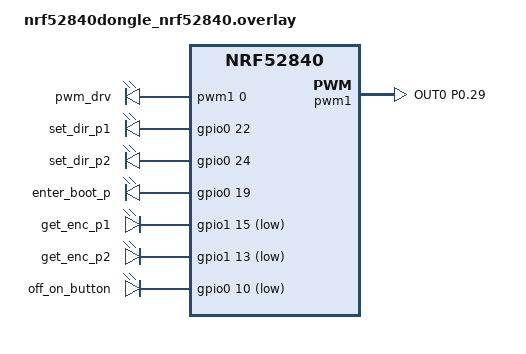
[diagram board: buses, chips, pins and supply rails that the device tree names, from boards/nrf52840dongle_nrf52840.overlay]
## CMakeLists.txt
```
# SPDX-License-Identifier: Apache-2.0

cmake_minimum_required(VERSION 3.20.0)
find_package(Zephyr REQUIRED HINTS $ENV{ZEPHYR_BASE})
project(MotorController)

set(CONTROLLER_PATH "MotorControllerFirmware/BrushedMotorControllerFirmware")

target_include_directories(app PRIVATE
     "${CONTROLLER_PATH}/include"
     "${CONTROLLER_PATH}/include/*"
     "src"
)

file(GLOB SRC_files_MC
     "${CONTROLLER_PATH}/include/*.c"
     "${CONTROLLER_PATH}/include/**/*.c"
)

file(GLOB SRC_files
     "src/*.c"
)

target_sources(app PRIVATE ${SRC_files_MC} ${SRC_files})

if ( CMAKE_COMPILER_IS_GNUCC )
     if ( CMAKE_C_COMPILER_VERSION LESS 13 )
          target_compile_options(app PRIVATE -Wno-unknown-pragmas)
     endif ()
endif ()
```

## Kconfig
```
# SPDX-License-Identifier: Apache-2.0
#
# Copyright (c) 2023 Maciej Baczmanski, Michal Kawiak, Jakub Mazur
#

menu "Wedka configurtion"
rsource "./MotorControllerFirmware/BrushedMotorControllerFirmware/Kconfig"
endmenu
```

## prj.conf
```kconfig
# SPDX-License-Identifier: Apache-2.0
#
# Copyright (c) 2023 Maciej Baczmanski, Michal Kawiak, Jakub Mazur
#

CONFIG_ASSERT=y
CONFIG_SHELL=y

CONFIG_GPIO=y
CONFIG_PWM=y
CONFIG_PWM_SHELL=n

# For Printk()
CONFIG_PRINTK=y
CONFIG_CONSOLE=y

# NVS
CONFIG_FLASH=y
CONFIG_FLASH_PAGE_LAYOUT=y
CONFIG_NVS=y
CONFIG_MPU_ALLOW_FLASH_WRITE=y

# Communication protocols
CONFIG_UART_SHELL_SUPPORT=y
CONFIG_BT_SUPPORT=y

# Driver specific configuration
CONFIG_SUPPORTED_CHANNEL_NUMBER=1

CONFIG_BT_DEVICE_NAME="WyndkaTemplates"
```

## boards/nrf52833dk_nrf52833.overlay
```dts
/ {
	pwmdrv {
		compatible = "pwm-leds";
		pwm_drv: pwm_drv {
			pwms = <&pwm1 0 PWM_MSEC(20) 0>;
		};
	};

	gpio_pins {
		compatible = "gpio-leds";
		set_dir_p1: set_dir_p1 {
			gpios = <&gpio0 22 GPIO_ACTIVE_LOW>;
		};

		set_dir_p2: set_dir_p2 {
			gpios = <&gpio0 24 GPIO_ACTIVE_LOW>;
		};

		get_enc_p1: get_enc_p1 {
			gpios = <&gpio1 15 (GPIO_PULL_UP | GPIO_ACTIVE_LOW)>;
		};

		get_enc_p2: get_enc_p2 {
			gpios = <&gpio1 13 (GPIO_PULL_UP | GPIO_ACTIVE_LOW)>;
		};
	};

	aliases {
		pwm-drv = &pwm_drv;
		set-dir-p1 = &set_dir_p1;
		set-dir-p2 = &set_dir_p2;
		get-enc-p1 = &get_enc_p1;
		get-enc-p2 = &get_enc_p2;
	};

};

&pinctrl{
	pwm1_default: pwm1_default {
		group1 {
			psels = <NRF_PSEL(PWM_OUT0, 0, 13)>;
			nordic,invert;
		};
	};
	pwm1_sleep: pwm1_sleep {
		group1 {
			psels = <NRF_PSEL(PWM_OUT0, 0, 13)>;
			low-power-enable;
		};
	};
};

&pwm1 {
	status = "okay";
	pinctrl-0 = <&pwm1_default>;
	pinctrl-1 = <&pwm1_sleep>;
	pinctrl-names = "default", "sleep";

};
```

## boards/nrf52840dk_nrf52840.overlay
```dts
/ {
	pwmdrv {
		compatible = "pwm-leds";
		pwm_drv_ch1: pwm_drv_ch1 {
			pwms = <&pwm1 0 PWM_MSEC(20) 0>;
		};
	};

	gpio_pins {
		compatible = "gpio-leds";
		set_dir_p1_ch1: set_dir_p1_ch1 {
			gpios = <&gpio0 22 GPIO_ACTIVE_LOW>;
		};

		set_dir_p2_ch1: set_dir_p2_ch1 {
			gpios = <&gpio0 24 GPIO_ACTIVE_LOW>;
		};

		enter_boot_p: enter_boot_p {
			gpios = <&gpio0 19 GPIO_ACTIVE_HIGH>;
		};

		get_enc_p1_ch1: get_enc_p1_ch1 {
			gpios = <&gpio1 15 (GPIO_PULL_UP | GPIO_ACTIVE_LOW)>;
		};

		get_enc_p2_ch1: get_enc_p2_ch1 {
			gpios = <&gpio1 13 (GPIO_PULL_UP | GPIO_ACTIVE_LOW)>;
		};
	};

	aliases {
		pwm-drv-ch1 = &pwm_drv_ch1;
		set-dir-p1-ch1 = &set_dir_p1_ch1;
		set-dir-p2-ch1 = &set_dir_p2_ch1;
		enter-boot-p = &enter_boot_p;
		get-enc-p1-ch1 = &get_enc_p1_ch1;
		get-enc-p2-ch1 = &get_enc_p2_ch1;
	};

};

&pinctrl{
	pwm1_default: pwm1_default {
		group1 {
			psels = <NRF_PSEL(PWM_OUT0, 0, 13)>;
			nordic,invert;
		};
	};
	pwm1_sleep: pwm1_sleep {
		group1 {
			psels = <NRF_PSEL(PWM_OUT0, 0, 13)>;
			low-power-enable;
		};
	};
};

&pwm1 {
	status = "okay";
	pinctrl-0 = <&pwm1_default>;
	pinctrl-1 = <&pwm1_sleep>;
	pinctrl-names = "default", "sleep";

};
```

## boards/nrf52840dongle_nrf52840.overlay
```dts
&uart0 {
	status="disabled";
};


/ {
	pwmdrv {
		compatible = "pwm-leds";
		pwm_drv: pwm_drv {
			pwms = <&pwm1 0 PWM_MSEC(20) 0>;
		};
	};

	gpio_pins {
		compatible = "gpio-leds";
		set_dir_p1: set_dir_p1 {
			gpios = <&gpio0 22 GPIO_ACTIVE_HIGH>;
		};

		set_dir_p2: set_dir_p2 {
			gpios = <&gpio0 24 GPIO_ACTIVE_HIGH>;
		};

		enter_boot_p: enter_boot_p {
			gpios = <&gpio0 19 GPIO_ACTIVE_HIGH>;
		};

		get_enc_p1: get_enc_p1 {
			gpios = <&gpio1 15 (GPIO_PULL_UP | GPIO_ACTIVE_LOW)>;
		};

		get_enc_p2: get_enc_p2 {
			gpios = <&gpio1 13 (GPIO_PULL_UP | GPIO_ACTIVE_LOW)>;
		};

		off_on_button: off_on_button {
			gpios = <&gpio0 10 (GPIO_PULL_DOWN | GPIO_ACTIVE_LOW)>;
		};
	};

	aliases {
		pwm-drv = &pwm_drv;
		set-dir-p1 = &set_dir_p1;
		set-dir-p2 = &set_dir_p2;
		enter-boot-p = &enter_boot_p;
		get-enc-p1 = &get_enc_p1;
		get-enc-p2 = &get_enc_p2;
		off-on-button = &off_on_button;
	};

};

&pinctrl{
	pwm1_default: pwm1_default {
		group1 {
			psels = <NRF_PSEL(PWM_OUT0, 0, 29)>;
			nordic,invert;
		};
	};
	pwm1_sleep: pwm1_sleep {
		group1 {
			psels = <NRF_PSEL(PWM_OUT0, 0, 29)>;
			low-power-enable;
		};
	};
};

&pwm1 {
	status = "okay";
	pinctrl-0 = <&pwm1_default>;
	pinctrl-1 = <&pwm1_sleep>;
	pinctrl-names = "default", "sleep";

};
```

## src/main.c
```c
// SPDX-License-Identifier: Apache-2.0
// Copyright (c) 2024 Maciej Baczmanski, Jakub Mazur, Michał Kawiak

#include <zephyr/kernel.h>

#include <zephyr/usb/usb_device.h>

#if defined(CONFIG_BT_SUPPORT)
#include "ble_gatt_service.h"
#endif

#include <string.h>

#include "driver.h"
#include "storage.h"
#include "button.h"

#if defined(CONFIG_UART_SHELL_SUPPORT)
#include <zephyr/drivers/uart.h>
#endif

int main(void)
{
	struct Template initial_template;
	return_codes_t error = SUCCESS;

	init_pwm_motor_driver();
	init_storage();
	error = get_current_template(&initial_template);

	if (error == SUCCESS) {
		target_speed_set(initial_template.speed, CH0);
	}

#if defined(CONFIG_BT_SUPPORT)
	init_bt();
#endif

	off_on_button_init();
}
```

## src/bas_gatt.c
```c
/** @file
 *  @brief GATT Battery Service
 */

/*
 * Copyright (c) 2018 Nordic Semiconductor ASA
 * Copyright (c) 2016 Intel Corporation
 *
 * SPDX-License-Identifier: Apache-2.0
 */

#include <errno.h>
#include <zephyr/init.h>
#include <zephyr/sys/__assert.h>
#include <stdbool.h>
#include <zephyr/types.h>

#include <zephyr/bluetooth/bluetooth.h>
#include <zephyr/bluetooth/conn.h>
#include <zephyr/bluetooth/gatt.h>
#include <zephyr/bluetooth/uuid.h>
#include "bas_gatt.h"

#define LOG_LEVEL CONFIG_BT_BAS_LOG_LEVEL
#include <zephyr/logging/log.h>
LOG_MODULE_REGISTER(bas);

static uint8_t ble_gatt_buffer[20] = {0x20,0x20,0x20,0x20,0x20,0x20,0x20,0x20,0x20,0x20,
									0x20,0x20,0x20,0x20,0x20,0x20,0x21,0x21,0x21,0x21,
									};

static uint8_t ble_gatt_new_frame[20] = {0x4e, 0x45, 0x57, 0x20, 0x46, 0x52, 0x41, 0x4d, 0x45, 0x20
										,0x20, 0x20, 0x20, 0x20, 0x20, 0x20, 0x20, 0x20, 0x20, 0x20};

void ble_buffer_copy_estimates(uint32_t var1, uint32_t var2, uint32_t var3, uint32_t var4) {
    // Copy each uint32_t variable into the buffer
    memcpy(ble_gatt_buffer, &var1, sizeof(uint32_t));
    memcpy(ble_gatt_buffer + sizeof(uint32_t), &var2, sizeof(uint32_t));
    memcpy(ble_gatt_buffer + 2 * sizeof(uint32_t), &var3, sizeof(uint32_t));
    memcpy(ble_gatt_buffer + 3 * sizeof(uint32_t), &var4, sizeof(uint32_t));
}

void ble_buffer_copy_from_uint8_buffer(uint8_t* src_buffer, size_t src_length) {
    // Copy data from the uint8_t buffer into the ble_gatt_buffer
	//size_t copy_length = (src_length < sizeof(ble_gatt_buffer)) ? src_length : sizeof(ble_gatt_buffer);
    memcpy(ble_gatt_buffer, src_buffer, src_length);
}



static void blvl_ccc_cfg_changed(const struct bt_gatt_attr *attr,
				       uint16_t value)
{
	ARG_UNUSED(attr);

	bool notif_enabled = (value == BT_GATT_CCC_NOTIFY);

	LOG_INF("BAS Notifications %s", notif_enabled ? "enabled" : "disabled");
}

static ssize_t read_blvl(struct bt_conn *conn,
			       const struct bt_gatt_attr *attr, void *buf,
			       uint16_t len, uint16_t offset)
{
	uint8_t* lvl8 = ble_gatt_buffer;

	return bt_gatt_attr_read(conn, attr, buf, len, offset, &lvl8,
				 sizeof(lvl8));
}

BT_GATT_SERVICE_DEFINE(bas,
	BT_GATT_PRIMARY_SERVICE(BT_UUID_BAS),
	BT_GATT_CHARACTERISTIC(BT_UUID_BAS_BATTERY_LEVEL,
			       BT_GATT_CHRC_READ | BT_GATT_CHRC_NOTIFY,
			       BT_GATT_PERM_READ, read_blvl, NULL,
			       &ble_gatt_buffer),
	BT_GATT_CCC(blvl_ccc_cfg_changed,
		    BT_GATT_PERM_READ | BT_GATT_PERM_WRITE),
);

static int bas_init(const struct device *dev)
{
	ARG_UNUSED(dev);

	return 0;
}

uint8_t* get_ble_buffer()
{
	return &ble_gatt_buffer[0];
}

int bt_set_new_frame(){
	int rc;

	rc = bt_gatt_notify(NULL, &bas.attrs[1], ble_gatt_new_frame, 20);

	return rc == -ENOTCONN ? 0 : rc;
}

int bt_set_estimates(uint8_t data[] ,  size_t num_of_bytes)
{
	int rc;

	rc = bt_gatt_notify(NULL, &bas.attrs[1], data, num_of_bytes);

	return rc == -ENOTCONN ? 0 : rc;
}

SYS_INIT(bas_init, APPLICATION, CONFIG_APPLICATION_INIT_PRIORITY);
```

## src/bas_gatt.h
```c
/*
 * Copyright (c) 2018 Nordic Semiconductor ASA
 * Copyright (c) 2016 Intel Corporation
 *
 * SPDX-License-Identifier: Apache-2.0
 */

#ifndef ZEPHYR_INCLUDE_BLUETOOTH_SERVICES_BAS_H_
#define ZEPHYR_INCLUDE_BLUETOOTH_SERVICES_BAS_H_

/**
 * @brief Battery Service (BAS)
 * @defgroup bt_bas Battery Service (BAS)
 * @ingroup bluetooth
 * @{
 *
 * [Experimental] Users should note that the APIs can change
 * as a part of ongoing development.
 */

#include <zephyr/types.h>

#ifdef __cplusplus
extern "C" {
#endif

/** @brief Read battery level value.
 *
 * Read the characteristic value of the battery level
 *
 *  @return The battery level in percent.
 */
uint8_t* bt_bas_get_battery_level(void);

/** @brief Update battery level value.
 *
 * Update the characteristic value of the battery level
 * This will send a GATT notification to all current subscribers.
 *
 *  @param level The battery level in percent.
 *
 *  @return Zero in case of success and error code in case of error.
 */
int bt_bas_set_battery_level(uint8_t* level);

void ble_buffer_copy_from_uint8_buffer(uint8_t* src_buffer, size_t src_length);

int bt_set_estimates(uint8_t data[] ,  size_t num_of_bytes);

void ble_buffer_copy_estimates(uint32_t var1, uint32_t var2, uint32_t var3, uint32_t var4);

int bt_set_new_frame();

uint8_t* get_ble_buffer();

#ifdef __cplusplus
}
#endif

/**
 * @}
 */

#endif /* ZEPHYR_INCLUDE_BLUETOOTH_SERVICES_BAS_H_ */
```

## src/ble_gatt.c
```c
// SPDX-License-Identifier: Apache-2.0
// Copyright (c) 2023 Maciej Baczmanski, Michal Kawiak, Jakub Mazur
// Copyright (c) 2016 Intel Corporation
#if defined(CONFIG_BT_SUPPORT)
// TODO - move define wrappers to CMakeLists. If whole is not to be compiled, make rule in CMAKE

#include "driver.h"
#include "storage.h"
#include <stdlib.h>

#include <zephyr/kernel.h>
#include <zephyr/bluetooth/gatt.h>
#include "return_codes.h"

#define UUID_GENERATOR(val)	BT_UUID_DECLARE_128(BT_UUID_128_ENCODE(val,		\
								       0x37de,		\
								       0x44d4,		\
								       0xbe45,		\
								       0xd1f1fd9385fd))


#define SERVICE_UUID			BT_UUID_DECLARE_16(0xffaa)
#define TX_CHAR_UUID_COMMAND		UUID_GENERATOR(0x6e006610)
#define RX_CHAR_UUID_TEMPL_LIST		UUID_GENERATOR(0x6e006620)
#define RX_CHAR_UUID_TEMPL_ACTIVE	UUID_GENERATOR(0x6e006621)
#define RX_CHAR_UUID_SPEED		UUID_GENERATOR(0x6e006622)
#define RX_CHAR_UUID_HW_VER		UUID_GENERATOR(0x6e006623)


//TODO - implement paging for more than 15 templates in the future

static ssize_t read_ble_template_list(struct bt_conn *conn, const struct bt_gatt_attr *attr,
			 void *buf, uint16_t len, uint16_t offset)
{
	ssize_t ret;
	char *buffer;
	uint8_t template_count = get_template_size();
	size_t frame_size = template_count * (sizeof(uint32_t) + CONFIG_TEMPLATE_NAME_SIZE) + 4;

	buffer = (char *)calloc(frame_size, sizeof(char));

	buffer[0] = frame_size;
	buffer[1] = 0; //page number
	buffer[2] = (char)template_count;
	buffer[3] = CONFIG_TEMPLATE_NAME_SIZE;

	(void)get_templates((struct Template *)&buffer[4]);

	ret = bt_gatt_attr_read(conn, attr, buf, len, offset, buffer,
				 frame_size);
	free(buffer);
	return ret;
}

static ssize_t read_ble_template_active(struct bt_conn *conn, const struct bt_gatt_attr *attr,
			 void *buf, uint16_t len, uint16_t offset)
{
	struct Template current;
	(void)get_current_template(&current);

	return bt_gatt_attr_read(conn, attr, buf, len, offset, &current,
				 sizeof(current));
}

static ssize_t read_ble_speed(struct bt_conn *conn, const struct bt_gatt_attr *attr,
			 void *buf, uint16_t len, uint16_t offset)
{
	uint32_t speed_tmp = speed_target_get();

	return bt_gatt_attr_read(conn, attr, buf, len, offset, &speed_tmp,
				 sizeof(speed_tmp));
}

static ssize_t read_ble_hw_ver(struct bt_conn *conn, const struct bt_gatt_attr *attr,
			 void *buf, uint16_t len, uint16_t offset)
{
	struct DriverVersion tmp_ver = get_driver_version();

	return bt_gatt_attr_read(conn, attr, buf, len, offset, &tmp_ver,
				 sizeof(tmp_ver));
}

uint32_t convertToUint32(uint8_t *bytes)
{
	uint32_t result = 0;

	memcpy(&result, bytes, 4U);

	// swap endianness
	result = ((result << 8) & 0xFF00FF00) | ((result >> 8) & 0xFF00FF);
	return (result << 16) | (result >> 16);
}

static ssize_t write_ble(struct bt_conn *conn, const struct bt_gatt_attr *attr,
			 const void *buf, uint16_t len, uint16_t offset, uint8_t flag)
{
	uint8_t *data = (uint8_t *)buf;
	struct Template template;
	char *name;

	switch (data[0]) {
#if defined(CONFIG_BOARD_NRF52840DONGLE_NRF52840)
	case 0:
		enter_boot();
	break;
#endif
	case 1: // set raw speed
		(void)target_speed_set(convertToUint32(data+1U), CH0);
	break;
	case 2: // add template
		name = (char *)(data + 1U);
		strcpy(template.name, name);
		template.speed = convertToUint32(name + CONFIG_TEMPLATE_NAME_SIZE);
		set_template(template);

	break;
	case 3: // delete template
		name = (char *)(data+1U);
		(void)remove_template_by_name(name);
	break;
	case 4: //activate template
		return_codes_t ret;
		uint8_t out_temp; // TODO - necessary?

		ret = get_template_and_id_by_name(data+1U, &template, &out_temp);

		if (ret != SUCCESS) {
			break;
		}

		ret = target_speed_set(template.speed, CH0);

		if (ret != SUCCESS) {
			break;
		}
		set_current_template(template.name);
	break;
	}
	memset(data, 0, len * (sizeof(data[0])));
	return len;
}


BT_GATT_SERVICE_DEFINE(hrs_svc,
	BT_GATT_PRIMARY_SERVICE(SERVICE_UUID),
	BT_GATT_CHARACTERISTIC(RX_CHAR_UUID_TEMPL_LIST, BT_GATT_CHRC_READ,
			       BT_GATT_PERM_READ,
			       read_ble_template_list, NULL, NULL),
	BT_GATT_CHARACTERISTIC(RX_CHAR_UUID_TEMPL_ACTIVE, BT_GATT_CHRC_READ,
			       BT_GATT_PERM_READ,
			       read_ble_template_active, NULL, NULL),
	BT_GATT_CHARACTERISTIC(RX_CHAR_UUID_SPEED, BT_GATT_CHRC_READ,
			       BT_GATT_PERM_READ,
			       read_ble_speed, NULL, NULL),
	BT_GATT_CHARACTERISTIC(RX_CHAR_UUID_HW_VER, BT_GATT_CHRC_READ,
			       BT_GATT_PERM_READ,
			       read_ble_hw_ver, NULL, NULL),
	BT_GATT_CHARACTERISTIC(TX_CHAR_UUID_COMMAND, BT_GATT_CHRC_WRITE,
			       BT_GATT_PERM_WRITE,
			       NULL, write_ble, NULL),
);

#endif
```

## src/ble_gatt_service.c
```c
// SPDX-License-Identifier: Apache-2.0
// Copyright (c) 2023 Maciej Baczmanski, Michal Kawiak, Jakub Mazur
// Copyright (c) 2015-2016 Intel Corporation

#if defined(CONFIG_BT_SUPPORT)

#include <zephyr/kernel.h>
#include <zephyr/bluetooth/gatt.h>

static const struct bt_data ad[] = {
	BT_DATA_BYTES(BT_DATA_FLAGS, (BT_LE_AD_GENERAL | BT_LE_AD_NO_BREDR)),
	BT_DATA_BYTES(BT_DATA_UUID16_ALL, BT_UUID_16_ENCODE(BT_UUID_HRS_VAL))};

static void connected(struct bt_conn *conn, uint8_t err)
{
	if (err) {
		printk("Connection failed (err 0x%02x)\n", err);
	} else {
		printk("Connected\n");
	}
}

static void disconnected(struct bt_conn *conn, uint8_t reason)
{
	printk("Disconnected (reason 0x%02x)\n", reason);
}

BT_CONN_CB_DEFINE(conn_callbacks) = {
	.connected = connected,
	.disconnected = disconnected,
};

static void bt_ready(void)
{
	int err;

	printk("Bluetooth initialized\n");

	err = bt_le_adv_start(BT_LE_ADV_CONN_NAME, ad, ARRAY_SIZE(ad), NULL, 0);
	if (err) {
		printk("Advertising failed to start (err %d)\n", err);
		return;
	}

	printk("Advertising successfully started\n");
}

static void auth_cancel(struct bt_conn *conn)
{
	char addr[BT_ADDR_LE_STR_LEN];

	bt_addr_le_to_str(bt_conn_get_dst(conn), addr, sizeof(addr));

	printk("Pairing cancelled: %s\n", addr);
}

static struct bt_conn_auth_cb auth_cb_display = {
	.cancel = auth_cancel,
};

int init_bt(void)
{
	int err;

	err = bt_enable(NULL);
	if (err) {
		printk("Bluetooth init failed (err %d)\n", err);
		return -1;
	}

	bt_ready();

	bt_conn_auth_cb_register(&auth_cb_display);
	return 0;
}


#endif
```

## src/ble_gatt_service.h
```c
/* SPDX-License-Identifier: Apache-2.0
 *
 * Copyright (c) 2023 Maciej Baczmanski, Michal Kawiak, Jakub Mazur
 *
 * Copyright (c) 2015-2016 Intel Corporation
 *
 */

#if defined(CONFIG_BT_SUPPORT)

int init_bt(void);

#endif
```

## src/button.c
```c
// SPDX-License-Identifier: Apache-2.0
// Copyright (c) 2023 Maciej Baczmanski, Michal Kawiak, Jakub Mazur

#include <zephyr/kernel.h>
#include <zephyr/drivers/gpio.h>

#include "button.h"
#include "driver.h"

static const struct gpio_dt_spec off_on_button = GPIO_DT_SPEC_GET(DT_ALIAS(off_on_button), gpios);

static struct gpio_callback off_on_cb;

static void cooldown_expired(struct k_work *work)
{
	ARG_UNUSED(work);

	int state = gpio_pin_get_dt(&off_on_button);

	if (state != 0) {
		motor_off(CH0);
	} else {
		motor_on(FORWARD, CH0);
	}
}

static K_WORK_DELAYABLE_DEFINE(cooldown_work, cooldown_expired);

static void off_on_callback(const struct device *dev, struct gpio_callback *cb, uint32_t pins)
{
	k_work_reschedule(&cooldown_work, K_MSEC(15));
}

void off_on_button_init(void)
{
	int ret;

	ret = gpio_pin_configure_dt(&off_on_button, GPIO_INPUT | GPIO_PULL_DOWN);

	ret = gpio_pin_interrupt_configure_dt(&off_on_button, GPIO_INT_EDGE_BOTH);
	gpio_init_callback(&off_on_cb, off_on_callback, BIT(off_on_button.pin));
	gpio_add_callback(off_on_button.port, &off_on_cb);
}
```

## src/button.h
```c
/* SPDX-License-Identifier: Apache-2.0
 *
 * Copyright (c) 2023 Maciej Baczmanski, Michal Kawiak, Jakub Mazur
 */

void off_on_button_init(void);
```

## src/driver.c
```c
// SPDX-License-Identifier: Apache-2.0get
// Copyright (c) 2023 Maciej Baczmanski, Michal Kawiak, Jakub Mazur

#include <zephyr/drivers/gpio.h>
#include <zephyr/drivers/pwm.h>
#include <zephyr/types.h>
#include <string.h>
#include "return_codes.h"
#include "driver.h"

static const struct DriverVersion driver_ver = {
	.major = 2,
	.minor = 2,
};

// TODO - correct all of the CH0 to actual channel!!

/// temporary debug only variables: - To be deleted after developemnt is finished!
static uint64_t count_timer;
static int32_t ret_debug = 100;// DEBUG ONLY

#pragma region InternalFunctions// declarations of internal functions
static void enc_callback_wrapper(const struct device *dev, struct gpio_callback *cb, uint32_t pins);
static int speed_pwm_set(uint32_t value);
static void update_speed_and_position_continuous(struct k_work *work);
static void continuous_calculation_timer_handler(struct k_timer *dummy);
static void enc_callback(enum ChannelNumber chnl, enum PinNumber pin);
static int set_direction_raw(enum MotorDirection direction, enum ChannelNumber chnl);
#pragma endregion InternalFunctions

/// Unit conversion defines
#define MIN_TO_MS 60000
#define RPM_TO_MRPM 1000
// TODO - add define for pins per channel

/// CONTROL MODE - whether speed or position is controlled
static enum ControlModes control_mode = SPEED;
/// encoder timer - timer is common for both channels
struct k_timer continuous_calculation_timer;
/// driver initialized (Was init function called)?
static bool drv_initialised;

// Struct representing singular channel, including channel - dependent variables
struct DriverChannel {
	/// PINS definitions
	/// motor out
	const struct pwm_dt_spec pwm_motor_driver;
	const struct gpio_dt_spec set_dir_pins[2];
	/// enc in
	const struct gpio_dt_spec enc_pins[2];
	struct gpio_callback enc_cb;

	/// ENCODER - variables used for actual speed calculation based on encoder pin and
	// timer interrupts
	uint64_t count_cycles;
	uint64_t old_count_cycles;

	/// SPEED control
	uint32_t target_speed_mrpm;// Target set by user
	uint32_t actual_mrpm; // actual speed calculated from encoder pins
	uint32_t speed_control; // PID output -> pwm calculations input

	/// POSITION control
	uint32_t curr_pos;
	uint32_t target_position;

	int32_t position_delta;//TEMP

	const uint32_t max_pos;

	bool prev_val_enc[2];
	enum MotorDirection actual_dir;

	/// BOOLS - is motor on?
	bool is_motor_on; // was motor_on function called?
};

static struct DriverChannel drv_chnls[CONFIG_SUPPORTED_CHANNEL_NUMBER] = {
	{
		.max_pos = 360u * CONFIG_POSITION_CONTROL_MODIFIER,
		.pwm_motor_driver = PWM_DT_SPEC_GET(DT_ALIAS(pwm_drv_ch1)),
		.set_dir_pins[P0] = GPIO_DT_SPEC_GET(DT_ALIAS(set_dir_p1_ch1), gpios),
		.set_dir_pins[P1] = GPIO_DT_SPEC_GET(DT_ALIAS(set_dir_p2_ch1), gpios),
		.enc_pins[P0] = GPIO_DT_SPEC_GET(DT_ALIAS(get_enc_p1_ch1), gpios),
		.enc_pins[P1] = GPIO_DT_SPEC_GET(DT_ALIAS(get_enc_p2_ch1), gpios),
		.actual_dir = STOPPED
	}
};

#if defined(CONFIG_BOARD_NRF52840DONGLE_NRF52840) // BOOT functionality
static const struct gpio_dt_spec out_boot = GPIO_DT_SPEC_GET(DT_ALIAS(enter_boot_p), gpios);
void enter_boot(void)
{
	gpio_pin_configure_dt(&out_boot, GPIO_OUTPUT);
}
#endif

// function implementations:
#pragma region TimerWorkCallback // timer interrupt internal functions
static void update_speed_and_position_continuous(struct k_work *work)
{
	for (enum ChannelNumber chnl = 0; chnl < CONFIG_SUPPORTED_CHANNEL_NUMBER; ++chnl) {
		count_timer += 1; // debug only

		// TODO - move declarations to global scope for efficiency (or make them static?)

		uint64_t diff = 0;

		// count encoder interrupts between timer interrupts:
		if (drv_chnls[chnl].count_cycles > drv_chnls[chnl].old_count_cycles) {
			diff = drv_chnls[chnl].count_cycles - drv_chnls[chnl].old_count_cycles;
		}
		drv_chnls[chnl].old_count_cycles = drv_chnls[chnl].count_cycles;
		enum MotorDirection dir;
		int8_t pos_diff_modifier = 1;

		get_motor_actual_direction(chnl, &dir);
		if (dir == BACKWARD) {
			pos_diff_modifier = -1;
		}

		// calculate actual position
		int32_t pos_diff = (diff*drv_chnls[chnl].max_pos) /
				   (CONFIG_ENC_STEPS_PER_ROTATION * CONFIG_GEARSHIFT_RATIO);
		int32_t new_pos = (int32_t)drv_chnls[chnl].curr_pos + pos_diff_modifier * pos_diff;

		if (new_pos <= 0) {
			drv_chnls[chnl].curr_pos = (uint32_t)(drv_chnls[chnl].max_pos + new_pos);
		} else {
			drv_chnls[chnl].curr_pos = ((uint32_t)new_pos)%(drv_chnls[chnl].max_pos);
		}

		// calculate actual speed
		drv_chnls[chnl].actual_mrpm = RPM_TO_MRPM * MIN_TO_MS * diff /
			(CONFIG_ENC_STEPS_PER_ROTATION *
			CONFIG_GEARSHIFT_RATIO *
			CONFIG_ENC_TIMER_PERIOD_MS);

		// if motor is on, calculate control value
		if (get_motor_off_on(chnl)) {
			int ret;

			if (control_mode == SPEED) {
				int32_t speed_delta = drv_chnls[chnl].target_speed_mrpm -
						      drv_chnls[chnl].actual_mrpm;

				int64_t temp_modifier_num = CONFIG_KP_NUMERATOR_FOR_SPEED *
							    speed_delta;
				int32_t temp_modifier = (int32_t)(temp_modifier_num /
								  CONFIG_KP_DENOMINATOR_FOR_SPEED);

				// increase or decrese speed each iteration by Kp * speed_delta
				drv_chnls[chnl].speed_control = (uint32_t)
								(drv_chnls[chnl].speed_control +
								 temp_modifier);

				// Cap control at max rpm speed,
				// to avoid cumulation of too high speeds.
				if (drv_chnls[chnl].speed_control > CONFIG_SPEED_MAX_MRPM) {
					drv_chnls[chnl].speed_control = CONFIG_SPEED_MAX_MRPM;
				}

				ret = speed_pwm_set(drv_chnls[chnl].speed_control);
			} else if (control_mode == POSITION) {
				drv_chnls[chnl].position_delta = drv_chnls[chnl].target_position -
								 drv_chnls[chnl].curr_pos;

				bool is_target_behind = false;
				if (drv_chnls[chnl].position_delta < 0) {
					drv_chnls[chnl].position_delta =
					-drv_chnls[chnl].position_delta;
					is_target_behind = true;
				}

				// Set proper spinning direction
				if (drv_chnls[chnl].position_delta /
					CONFIG_POSITION_CONTROL_MODIFIER
						< 180) {

					if (!is_target_behind)
						set_direction_raw(FORWARD, chnl);
					else
						set_direction_raw(BACKWARD, chnl);
				} else {
					if (!is_target_behind)
						set_direction_raw(BACKWARD, chnl);
					else
						set_direction_raw(FORWARD, chnl);
				}

				// TODO - it has issues with keeping "0" position, improve!
				if (drv_chnls[chnl].position_delta >
						(drv_chnls[chnl].max_pos) /
						(CONFIG_POS_CONTROL_PRECISION_MODIFIER)) {
					// TODO - add actual PID! (instead of slow spinning!)
					drv_chnls[chnl].target_speed_mrpm =
						CONFIG_SPEED_MAX_MRPM /
						CONFIG_POS_CONTROL_MIN_SPEED_MODIFIER;
				} else {
					drv_chnls[chnl].target_speed_mrpm = 0;
				}
				ret_debug = speed_pwm_set(drv_chnls[chnl].target_speed_mrpm);
			}
		}
	}
}
K_WORK_DEFINE(speed_and_position_update_work, update_speed_and_position_continuous);
static void continuous_calculation_timer_handler(struct k_timer *dummy)
{
	k_work_submit(&speed_and_position_update_work);
}
K_TIMER_DEFINE(continuous_calculation_timer, continuous_calculation_timer_handler, NULL);
#pragma endregion TimerWorkCallback

// encoder functions
static void enc_callback(enum ChannelNumber chnl, enum PinNumber pin)
{
	// TODO - maybe split this callback to two callbacks, for P1 and P0:
	// what if motor is stuck and hitting one enc. from two directions?
	// How will speed calculation behave if motor will keep changing position?
	// (ex. when setting position?)
	drv_chnls[chnl].count_cycles += 1;

	if (drv_chnls[chnl].actual_mrpm == 0) {
		drv_chnls[chnl].actual_dir = STOPPED;
		return;
	}

	if (pin == P0) {
		if (drv_chnls[chnl].prev_val_enc[P0] == drv_chnls[chnl].prev_val_enc[P1]) {
			drv_chnls[chnl].actual_dir = BACKWARD;
		} else {
			drv_chnls[chnl].actual_dir = FORWARD;
		}
	}
}

static void enc_callback_wrapper(const struct device *dev, struct gpio_callback *cb, uint32_t pins)
{
	for (int channel = 0; channel < CONFIG_SUPPORTED_CHANNEL_NUMBER; ++channel) {
		for (int pin = 0; pin < 2; ++pin) {
			if (pins & BIT(drv_chnls[channel].enc_pins[pin].pin)) {
				drv_chnls[channel].prev_val_enc[pin] =
					gpio_pin_get(dev, drv_chnls[channel].enc_pins[pin].pin);
				enc_callback(channel, pin);
			}
		}
	}
}

// init motor
void init_pwm_motor_driver(void)
{
	for (unsigned int channel = 0; channel < CONFIG_SUPPORTED_CHANNEL_NUMBER; channel++) {

		__ASSERT(device_is_ready(drv_chnls[channel].pwm_motor_driver.dev),
			 "PWM Driver not ready!");

		__ASSERT_EVAL((void) pwm_set_pulse_dt(&(drv_chnls[channel].pwm_motor_driver), 0),
			int r = pwm_set_pulse_dt(&(drv_chnls[channel].pwm_motor_driver), 0),
			!r, "Unable to set PWM!");

		for (uint8_t pin = 0; pin < 2; ++pin) {
			__ASSERT(gpio_is_ready_dt(&(drv_chnls[channel].set_dir_pins[pin])),
				 "Direction Pin %d on channel %d not ready!",
				 pin, channel);

			__ASSERT_EVAL((void) gpio_pin_configure_dt(
							&(drv_chnls[channel].set_dir_pins[pin]),
							GPIO_OUTPUT_LOW),
				int r = gpio_pin_configure_dt(
							&(drv_chnls[channel].set_dir_pins[pin]),
							GPIO_OUTPUT_LOW),
				!r, "Unable to configure direction Pin %d on channel %d!",
				pin, channel);
		}

#if defined(CONFIG_BOARD_NRF52840DONGLE_NRF52840)
		__ASSERT(gpio_is_ready_dt(&out_boot),
			 "GPIO Boot pin not ready!");
#endif

		for (int pin = 0; pin < 2; ++pin) {
			__ASSERT(gpio_is_ready_dt(&(drv_chnls[channel].enc_pins[pin])),
				 "Encoder Pin %d on channel %d not ready!",
				 pin, channel);

			__ASSERT_EVAL((void) gpio_pin_configure_dt(
							&(drv_chnls[channel].enc_pins[pin]),
							GPIO_INPUT),
				int r = gpio_pin_configure_dt(
							&(drv_chnls[channel].enc_pins[pin]),
							GPIO_INPUT),
				!r, "Unable to configure Encoder pin %d on channel %d!",
				pin, channel);

			__ASSERT_EVAL((void) gpio_pin_interrupt_configure_dt(
							&(drv_chnls[channel].enc_pins[pin]),
							GPIO_INT_EDGE_BOTH),
				int r = gpio_pin_interrupt_configure_dt(
							&(drv_chnls[channel].enc_pins[pin]),
							GPIO_INT_EDGE_BOTH),
				!r, "Unable to configure Encoder pin %d on channel %d!",
				pin, channel);

			drv_chnls[channel].prev_val_enc[pin] =
				gpio_pin_get(drv_chnls[channel].enc_pins[pin].port,
							 drv_chnls[channel].enc_pins[pin].pin);
		}

		gpio_init_callback(&(drv_chnls[channel].enc_cb),
					enc_callback_wrapper,
					BIT(drv_chnls[channel].enc_pins[P0].pin) |
					BIT(drv_chnls[channel].enc_pins[P1].pin));
		gpio_add_callback(drv_chnls[channel].enc_pins[P0].port,
					&(drv_chnls[channel].enc_cb));
	}

	k_timer_start(&continuous_calculation_timer, K_MSEC(CONFIG_ENC_TIMER_PERIOD_MS),
		      K_MSEC(CONFIG_ENC_TIMER_PERIOD_MS));

	drv_initialised = true;
}

return_codes_t motor_on(enum MotorDirection direction, enum ChannelNumber chnl)
{
	int ret;

	if (!drv_initialised) {
		return ERR_NOT_INITIALISED;
	}

	// TODO - change direction during spinning

	if (drv_chnls[chnl].is_motor_on) {
		// Motor is already on, no need for starting it again
		return SUCCESS;
	}

	drv_chnls[chnl].speed_control = 0;
	drv_chnls[chnl].count_cycles = 0;
	drv_chnls[chnl].old_count_cycles = 0;

	ret = set_direction_raw(direction, chnl);

	if (ret != SUCCESS) {
		return ret;
	}

	drv_chnls[chnl].is_motor_on = true;
	return SUCCESS;
}
return_codes_t motor_off(enum ChannelNumber chnl)
{
	int ret;

	if (!drv_initialised) {
		return ERR_NOT_INITIALISED;
	}

	if (!drv_chnls[chnl].is_motor_on) {
		// Motor is already off, no need for stopping it again
		return SUCCESS;
	}

	if (drv_initialised) {
		ret = gpio_pin_set_dt(&(drv_chnls[chnl].set_dir_pins[P0]), 0);

		if (ret != 0) {
			return ERR_UNABLE_TO_SET_GPIO;
		}
		ret = gpio_pin_set_dt(&(drv_chnls[chnl].set_dir_pins[P1]), 0);
		if (ret != 0) {
			return ERR_UNABLE_TO_SET_GPIO;
		}
		drv_chnls[chnl].is_motor_on = false;
		return SUCCESS;
	}

	return ERR_NOT_INITIALISED;
}

bool get_motor_off_on(enum ChannelNumber chnl)
{
	return drv_chnls[chnl].is_motor_on;
}

static int set_direction_raw(enum MotorDirection direction, enum ChannelNumber chnl)
{
	int ret;
	// TODO, combine if and else in some smart way, as they are very similar
	if (direction == FORWARD) {
		ret = gpio_pin_set_dt(&(drv_chnls[chnl].set_dir_pins[P0]), 1);
		if (ret != 0) {
			return ERR_UNABLE_TO_SET_GPIO;
		}
		ret = gpio_pin_set_dt(&(drv_chnls[chnl].set_dir_pins[P1]), 0);
		if (ret != 0) {
			return ERR_UNABLE_TO_SET_GPIO;
		}
	} else if (direction == BACKWARD) {
		ret = gpio_pin_set_dt(&(drv_chnls[chnl].set_dir_pins[P0]), 0);
		if (ret != 0) {
			return ERR_UNABLE_TO_SET_GPIO;
		}
		ret = gpio_pin_set_dt(&(drv_chnls[chnl].set_dir_pins[P1]), 1);
		if (ret != 0) {
			return ERR_UNABLE_TO_SET_GPIO;
		}
	}
	return SUCCESS;
}

int get_motor_actual_direction(enum ChannelNumber chnl, enum MotorDirection *out_dir)
{
	if (!drv_initialised) {
		return ERR_NOT_INITIALISED;
	}

	*out_dir = drv_chnls[chnl].actual_dir;

	return SUCCESS;
}

static int speed_pwm_set(uint32_t value)
{
	int ret;

	if (!drv_initialised) {
		return ERR_NOT_INITIALISED;
	}

	if (value > CONFIG_SPEED_MAX_MRPM) {
		return ERR_DESIRED_VALUE_TO_HIGH;
	}

	if (drv_chnls[CH0].target_speed_mrpm < CONFIG_SPEED_MAX_MRPM / 10) {
		value = 0;
		drv_chnls[CH0].speed_control = 0;
	}

	uint64_t w_1 = drv_chnls[CH0].pwm_motor_driver.period * (uint64_t)value;
	uint32_t w = value != 0 ? (uint32_t)(w_1 / CONFIG_SPEED_MAX_MRPM) : 0;

	ret = pwm_set_pulse_dt(&(drv_chnls[CH0].pwm_motor_driver), w);
	if (ret != 0) {
		return ERR_UNABLE_TO_SET_PWM;
	}

	return SUCCESS;
}
return_codes_t target_speed_set(uint32_t value, enum ChannelNumber chnl)
{
	if (control_mode != SPEED) {
		return ERR_UNSUPPORTED_FUNCTION_IN_CURRENT_MODE;
	}
	drv_chnls[chnl].target_speed_mrpm = value;
	drv_chnls[chnl].count_cycles = 0;
	drv_chnls[chnl].old_count_cycles = 0;
	return SUCCESS;
}
return_codes_t speed_get(enum ChannelNumber chnl, uint32_t *value)
{
	if (drv_initialised) {
		*value = drv_chnls[chnl].actual_mrpm; // TODO - get speed from encoder
		return SUCCESS;
	}

	return ERR_NOT_INITIALISED;
}
uint32_t speed_target_get(void)
{
	return drv_chnls[CH0].target_speed_mrpm;
}
uint32_t get_current_max_speed(void)
{
	return CONFIG_SPEED_MAX_MRPM;
}

return_codes_t target_position_set(uint32_t new_target_position, enum ChannelNumber chnl)
{
	if (!drv_initialised) {
		return ERR_NOT_INITIALISED;
	}

	if (control_mode != POSITION) {
		return ERR_UNSUPPORTED_FUNCTION_IN_CURRENT_MODE;
	}

	drv_chnls[chnl].target_position = new_target_position;
	return SUCCESS;
}
return_codes_t position_get(uint32_t *value, enum ChannelNumber chnl)
{
	if (!drv_initialised) {
		return ERR_NOT_INITIALISED;
	}

	*value = drv_chnls[chnl].curr_pos;
	return SUCCESS;
}

return_codes_t mode_set(enum ControlModes new_mode)
{
	if (!drv_initialised) {
		return ERR_NOT_INITIALISED;
	}

	control_mode = new_mode;
	return SUCCESS;
}
return_codes_t mode_get(enum ControlModes *value)
{
	if (!drv_initialised) {
		return ERR_NOT_INITIALISED;
	}

	*value = control_mode;
	return SUCCESS;
}

// TODO - remove, use shell arguments instead
return_codes_t get_control_mode_from_string(char *str_control_mode, enum ControlModes *ret_value)
{
	if (strcmp(str_control_mode, "speed") == 0) {
		*ret_value = SPEED;
		return SUCCESS;
	} else if (strcmp(str_control_mode, "position") == 0 ||
		  strcmp(str_control_mode, "pos") == 0) {

		*ret_value = POSITION;
		return SUCCESS;
	} else {
		return ERR_VALUE_CONVERSION_ERROR;
	}
}

// TODO - remove, use shell arguments instead
return_codes_t get_control_mode_as_string(enum ControlModes control_mode, char **ret_value)
{
	if (control_mode == SPEED) {
		*ret_value = "Speed";
		return SUCCESS;
	} else if (control_mode == POSITION) {
		*ret_value = "Position";
		return SUCCESS;
	} else {
		return ERR_VALUE_CONVERSION_ERROR;
	}
}

#pragma region DebugFunctions
uint64_t get_cycles_count_DEBUG(void)
{
	return drv_chnls[CH0].count_cycles;
}

uint64_t get_time_cycles_count_DEBUG(void)
{
	return count_timer;
}

int32_t get_ret_DEBUG(void)
{
	return ret_debug;
}

uint32_t get_calc_speed_DEBUG(void)
{
	return drv_chnls[CH0].speed_control;
}

uint32_t get_target_pos_DEBUG(void)
{
	return drv_chnls[CH0].target_position;
}

int32_t get_pos_d_DEBUG(void)
{
	return drv_chnls[CH0].position_delta;
}
#pragma endregion DebugFunctions

struct DriverVersion get_driver_version(void)
{
	return driver_ver;
}
```

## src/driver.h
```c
/* SPDX-License-Identifier: Apache-2.0
 *
 * Copyright (c) 2023 Maciej Baczmanski, Michal Kawiak, Jakub Mazur
 */

#include <zephyr/kernel.h>
#include "return_codes.h"


/// @brief motor direction definitions
enum MotorDirection {
	STOPPED,
	FORWARD,
	BACKWARD
};

/// @brief Control Mode - whether excact speed or position is controlled
enum ControlModes {
	SPEED,
	POSITION
};

/// @brief struct representing current software version
struct DriverVersion {
	uint8_t major;
	uint8_t minor;
};

enum ChannelNumber {
	CH0,
	CH1
};

// TODO add preprocessor check for max supported channels (currently only CH0 and CH1)

enum PinNumber {
	P0,
	P1
};


/// @brief Function initalising PWMs (drivers) and GPIOs.
/// @param speed_max_mrpm - max speed defined in mili RPM
void init_pwm_motor_driver(void);

/// @brief Set new desired (targeted) speed AND set the pwm
/// @param value - value in mili RPM
/// @return error defined in error_codes
return_codes_t target_speed_set(uint32_t value, enum ChannelNumber chnl);

/// @brief Get current actual speed (from encoders)  - TODO - implement with encoders
/// @param value - variable to save speed
/// @return error defined in error_codes
return_codes_t speed_get(enum ChannelNumber chnl, uint32_t *value);

/// @brief Turn motor on in proper direction, without modyfing target speed or set pwm output.
/// @param direction - FORWARD or BACKWARD
/// @return error defined in error_codes
return_codes_t motor_on(enum MotorDirection direction, enum ChannelNumber chnl);

/// @brief Turn motor off, without modyfing pwm output
/// @return error defined in error_codes
return_codes_t motor_off(enum ChannelNumber chnl);

/// @brief Simple getter for max speed (set by init_pwm_motor_driver)
/// @return max speed in mili RPM
uint32_t get_current_max_speed(void);

/// @brief Simple getter for current motor state (off or on)
/// @return true - motor is on; false - motor is off
bool get_motor_off_on(enum ChannelNumber chnl);

/// @brief getter for spinning direction calculated based on encoder feedback
/// @param  channel number for direction
/// @param  output - spinning direction
/// @return return code
int get_motor_actual_direction(enum ChannelNumber chnl, enum MotorDirection *out_dir);

/// @brief Simple getter for firmware software version
/// @return DriverVersion struct of major and minor version
struct DriverVersion get_driver_version(void);

/// @brief Simple getter for target speed set with target_speed_set function
/// @return uint32_t representing target speed.
uint32_t speed_target_get(void);

/// @brief utility function for converting control mode as string to control mode as proper enum
/// @param str_control_mode control mode as string
/// @param ret_value output - control mode as control mode enum
/// @return error defined in error_codes
return_codes_t get_control_mode_from_string(char *str_control_mode, enum ControlModes *ret_value);

/// @brief utility function for converting control mode from enum to string
/// @param control_mode control mode as enum
/// @param ret_value output - control mode as string
/// @return error defined in error_codes
return_codes_t get_control_mode_as_string(enum ControlModes control_mode, char **ret_value);

return_codes_t target_position_set(uint32_t new_target_position, enum ChannelNumber chnl);

return_codes_t position_get(uint32_t *value, enum ChannelNumber chnl);

return_codes_t mode_set(enum ControlModes new_mode);

return_codes_t mode_get(enum ControlModes *value);

#if defined(CONFIG_BOARD_NRF52840DONGLE_NRF52840)
/// @brief Enter bootloader mode (in order to flash new software via nRF connect programmer)
void enter_boot(void);
#endif

uint64_t get_cycles_count_DEBUG(void);
uint64_t get_time_cycles_count_DEBUG(void);
int32_t get_ret_DEBUG(void);
uint32_t get_calc_speed_DEBUG(void);
uint32_t get_target_pos_DEBUG(void);
int32_t get_pos_d_DEBUG(void);
```

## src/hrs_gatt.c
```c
#include "driver.h"
#include <zephyr/types.h>
#include <stddef.h>
#include <string.h>
#include <errno.h>
#include <zephyr/kernel.h>
#include <zephyr/init.h>

#include <zephyr/bluetooth/bluetooth.h>
#include <zephyr/bluetooth/hci.h>
#include <zephyr/bluetooth/conn.h>
#include <zephyr/bluetooth/uuid.h>
#include <zephyr/bluetooth/gatt.h>

#include <zephyr/shell/shell.h>

#define LOG_LEVEL CONFIG_BT_HRS_LOG_LEVEL
#include <zephyr/logging/log.h>
LOG_MODULE_REGISTER(hrs);


#define GATT_PERM_READ_MASK     (BT_GATT_PERM_READ | \
				 BT_GATT_PERM_READ_ENCRYPT | \
				 BT_GATT_PERM_READ_AUTHEN)
#define GATT_PERM_WRITE_MASK    (BT_GATT_PERM_WRITE | \
				 BT_GATT_PERM_WRITE_ENCRYPT | \
				 BT_GATT_PERM_WRITE_AUTHEN)

#ifndef CONFIG_BT_HRS_DEFAULT_PERM_RW_AUTHEN
#define CONFIG_BT_HRS_DEFAULT_PERM_RW_AUTHEN 0
#endif
#ifndef CONFIG_BT_HRS_DEFAULT_PERM_RW_ENCRYPT
#define CONFIG_BT_HRS_DEFAULT_PERM_RW_ENCRYPT 0
#endif
#ifndef CONFIG_BT_HRS_DEFAULT_PERM_RW
#define CONFIG_BT_HRS_DEFAULT_PERM_RW 0
#endif

#define HRS_GATT_PERM_DEFAULT (						\
	CONFIG_BT_HRS_DEFAULT_PERM_RW_AUTHEN ?				\
	(BT_GATT_PERM_READ_AUTHEN | BT_GATT_PERM_WRITE_AUTHEN) :	\
	CONFIG_BT_HRS_DEFAULT_PERM_RW_ENCRYPT ?				\
	(BT_GATT_PERM_READ_ENCRYPT | BT_GATT_PERM_WRITE_ENCRYPT) :	\
	(BT_GATT_PERM_READ | BT_GATT_PERM_WRITE))			\

static char hrs_blsc[160];

static void hrmc_ccc_cfg_changed(const struct bt_gatt_attr *attr, uint16_t value)
{
	ARG_UNUSED(attr);

	bool notif_enabled = (value == BT_GATT_CCC_NOTIFY);

	LOG_INF("HRS notifications %s", notif_enabled ? "enabled" : "disabled");
}

static ssize_t read_blsc(struct bt_conn *conn, const struct bt_gatt_attr *attr,
			 void *buf, uint16_t len, uint16_t offset)
{
	return bt_gatt_attr_read(conn, attr, buf, len, offset, &hrs_blsc,
				 sizeof(hrs_blsc));
}

uint32_t convertToUint32(uint8_t *bytes) {
    uint32_t result = 0;
    memcpy(&result , bytes , 4U);
    return result;
}

static ssize_t write_blsc(struct bt_conn *conn, const struct bt_gatt_attr *attr,
			 const void *buf, uint16_t len, uint16_t offset , uint8_t flag)
{
	uint8_t *data = (const uint8_t *)buf;
	if(len == 1){
		if(data[0] == 0){
			init_pwm_motor_driver(67000u);
		}
	#if defined(CONFIG_BOARD_NRF52840DONGLE_NRF52840)

		else if(data[0] == 1){
			enter_boot();
		}
	#endif
		else if (data[0] == 2){
			//static uint8_t tmp_hrm[4];
			uint32_t speed_tmp = speed_target_get();
			//bt_hrs_notify(tmp_hrm);
			memcpy(hrs_blsc, &speed_tmp, sizeof(speed_tmp));
			
		}else if(data[0] == 3){
			const DriverVersion tmp_ver = get_driver_version();
			memcpy(hrs_blsc, &tmp_ver, 2U);
		}else if(data[0] == 0xF0){
			//Test only
			bt_hrs_notify(10240);
		}
		return len;
	}else if(len == 5){
		target_speed_set(convertToUint32(data+1U));
	}

	return len;
}

/* Heart Rate Service Declaration */
BT_GATT_SERVICE_DEFINE(hrs_svc,
	BT_GATT_PRIMARY_SERVICE(BT_UUID_HRS),
	BT_GATT_CHARACTERISTIC(BT_UUID_HRS_MEASUREMENT, BT_GATT_CHRC_NOTIFY,
			       BT_GATT_PERM_NONE, NULL, NULL, NULL),
	BT_GATT_CCC(hrmc_ccc_cfg_changed,
		    HRS_GATT_PERM_DEFAULT),
	BT_GATT_CHARACTERISTIC(BT_UUID_HRS_BODY_SENSOR, BT_GATT_CHRC_READ,
			       HRS_GATT_PERM_DEFAULT & GATT_PERM_READ_MASK,
			       read_blsc, NULL, NULL),
	BT_GATT_CHARACTERISTIC(BT_UUID_HRS_CONTROL_POINT, BT_GATT_CHRC_WRITE,
			       HRS_GATT_PERM_DEFAULT & GATT_PERM_WRITE_MASK,
			       NULL, write_blsc, NULL),
);

static int hrs_init(const struct device *dev)
{
	ARG_UNUSED(dev);
	return 0;
}

int bt_hrs_notify(uint32_t heartrate)
{
	int rc;
	static uint8_t hrm[4];

	memcpy(&hrm , &heartrate , 4U);
	rc = bt_gatt_notify(NULL, &hrs_svc.attrs[1], &hrm, sizeof(hrm));

	return rc == -ENOTCONN ? 0 : rc;
}

SYS_INIT(hrs_init, APPLICATION, CONFIG_APPLICATION_INIT_PRIORITY);
```

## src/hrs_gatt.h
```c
/*
 * Copyright (c) 2016 Intel Corporation
 *
 * SPDX-License-Identifier: Apache-2.0
 */

#ifndef ZEPHYR_INCLUDE_BLUETOOTH_SERVICES_HRS_H_
#define ZEPHYR_INCLUDE_BLUETOOTH_SERVICES_HRS_H_
#include<zephyr/kernel.h>

/**
 * @brief Heart Rate Service (HRS)
 * @defgroup bt_hrs Heart Rate Service (HRS)
 * @ingroup bluetooth
 * @{
 *
 * [Experimental] Users should note that the APIs can change
 * as a part of ongoing development.
 */

#ifdef __cplusplus
extern "C" {
#endif

/** @brief Notify heart rate measurement.
 *
 * This will send a GATT notification to all current subscribers.
 *
 *  @param heartrate The heartrate measurement in beats per minute.
 *
 *  @return Zero in case of success and error code in case of error.
 */
int bt_hrs_notify(uint32_t heartrate);

#ifdef __cplusplus
}
#endif

/**
 * @}
 */

#endif /* ZEPHYR_INCLUDE_BLUETOOTH_SERVICES_HRS_H_ */
```

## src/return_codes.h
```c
enum error_codes {
	SUCCESS = 0,

	// Minor Errors (range 1-15) - Can happen during normal operation
	ERR_UNSUPPORTED_FUNCTION_IN_CURRENT_MODE = 1,
	ERR_DESIRED_VALUE_TO_HIGH = 2,
	ERR_TOO_MANY_TEMPLATES_DEFINED = 3,
	ERR_COULDNT_FIND_TEMPLATE = 4,
	ERR_EMPTY_TEMPLATE_LIST = 5,

	// Critical errors (16+) - Are result of serious hardware issue
	ERR_NOT_INITIALISED = 16,

	ERR_UNABLE_TO_SET_PWM = 17,
	ERR_UNABLE_TO_SET_GPIO = 18,

	ERR_VALUE_CONVERSION_ERROR = 19,

	ERR_ERROR_CODE_FROM_ERRNO = 20,
	ERR_NOTHING_WRITTEN_DURING_NVS_WRITE = 21,
	ERR_NOTHING_READ_DURING_NVS_READ = 22,
};
```
